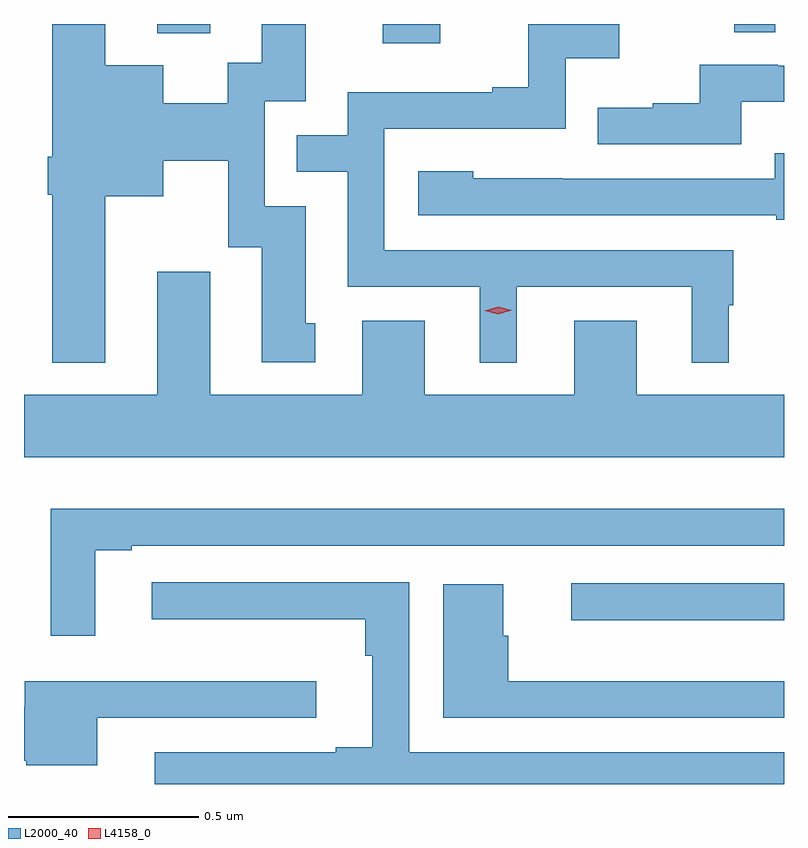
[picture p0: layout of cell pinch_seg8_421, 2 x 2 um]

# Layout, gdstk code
import gdstk
lib = gdstk.Library(unit=1e-6, precision=1e-09)
def R(c, l, rs):  # rectangles x0, y0, x1, y1
    for r in rs: c.add(gdstk.rectangle(r[:2], r[2:], *l))
def P(c, l, *ps):  # polygons
    for p in ps: c.add(gdstk.Polygon(p, *l))
L2000_40 = (2000, 40)
L4158_0 = (4158, 0)

pinch_seg8_421 = lib.new_cell('pinch_seg8_421')
R(pinch_seg8_421, L2000_40, [(505.569,1116.071,506.129,1116.168), (505.073,1117.59,505.225,1117.64), (504.479,1117.616,504.619,1117.64), (505.998,1117.618,506.106,1117.64)])
P(pinch_seg8_421, L2000_40, [(504.343,1117.187),(504.496,1117.187),(504.496,1117.28),(504.666,1117.28),(504.666,1117.053),(504.755,1117.053),(504.755,1116.75),(504.895,1116.75),(504.895,1116.852),(504.871,1116.852),(504.871,1117.161),(504.762,1117.161),(504.762,1117.437),(504.871,1117.437),(504.871,1117.64),(504.755,1117.64),(504.755,1117.538),(504.665,1117.538),(504.665,1117.432),(504.496,1117.432),(504.496,1117.531),(504.343,1117.531),(504.343,1117.64),(504.203,1117.64),(504.203,1117.291),(504.191,1117.291),(504.191,1117.191),(504.203,1117.191),(504.203,1116.749),(504.343,1116.749)],
  [(505.426,1116.948),(505.886,1116.948),(505.886,1116.749),(505.984,1116.749),(505.984,1116.9),(505.996,1116.9),(505.996,1117.044),(505.077,1117.044),(505.077,1117.365),(505.554,1117.365),(505.554,1117.55),(505.696,1117.55),(505.696,1117.64),(505.456,1117.64),(505.456,1117.474),(505.361,1117.474),(505.361,1117.461),(504.981,1117.461),(504.981,1117.347),(504.847,1117.347),(504.847,1117.251),(504.981,1117.251),(504.981,1116.948),(505.328,1116.948),(505.328,1116.749),(505.426,1116.749)],
  [(506.017,1117.436),(506.129,1117.436),(506.129,1117.53),(506.114,1117.53),(506.114,1117.533),(505.907,1117.533),(505.907,1117.432),(505.783,1117.432),(505.783,1117.42),(505.639,1117.42),(505.639,1117.323),(506.017,1117.323)],
  [(506.129,1117.3),(506.105,1117.3),(506.105,1117.233),(505.547,1117.233),(505.547,1117.234),(505.311,1117.234),(505.311,1117.252),(505.167,1117.252),(505.167,1117.137),(506.109,1117.137),(506.109,1117.125),(506.129,1117.125)],
  [(506.129,1116.664),(505.741,1116.664),(505.741,1116.859),(505.577,1116.859),(505.577,1116.664),(505.183,1116.664),(505.183,1116.859),(505.019,1116.859),(505.019,1116.664),(504.619,1116.664),(504.619,1116.988),(504.479,1116.988),(504.479,1116.664),(504.129,1116.664),(504.129,1116.5),(506.129,1116.5)],
  [(504.316,1116.255),(504.412,1116.255),(504.412,1116.267),(506.129,1116.267),(506.129,1116.364),(504.199,1116.364),(504.199,1116.03),(504.316,1116.03)],
  [(506.129,1115.724),(505.143,1115.724),(505.143,1116.171),(504.465,1116.171),(504.465,1116.074),(505.027,1116.074),(505.027,1115.978),(505.046,1115.978),(505.046,1115.737),(504.95,1115.737),(504.95,1115.724),(504.473,1115.724),(504.473,1115.64),(506.129,1115.64)],
  [(506.129,1115.911),(505.403,1115.911),(505.403,1116.03),(505.39,1116.03),(505.39,1116.166),(505.232,1116.166),(505.232,1115.814),(506.129,1115.814)],
  [(504.322,1115.814),(504.898,1115.814),(504.898,1115.911),(504.131,1115.911),(504.131,1115.843),(504.129,1115.843),(504.129,1115.701),(504.135,1115.701),(504.135,1115.69),(504.322,1115.69)])
P(pinch_seg8_421, L4158_0, [(505.377,1116.876),(505.341,1116.885),(505.341,1116.885),(505.341,1116.885),(505.377,1116.896),(505.413,1116.887),(505.413,1116.887),(505.413,1116.887)])

lib.write_gds('pinch_seg8_421.gds')
